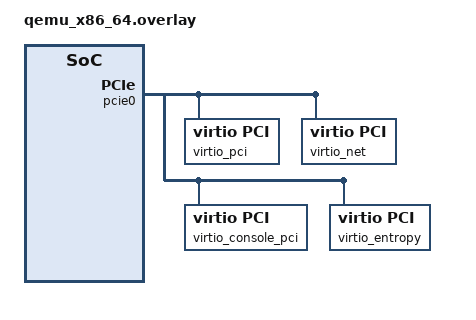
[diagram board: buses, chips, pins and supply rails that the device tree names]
/*
 * Copyright (c) 2024-2025 Antmicro <www.antmicro.com>
 *
 * SPDX-License-Identifier: Apache-2.0
 */

/ {
	chosen {
		zephyr,console = &virtio_console;
		zephyr,entropy = &virtio_entropy;
	};
};

&pcie0 {
	virtio_pci: virtio-pci {
		compatible = "virtio,pci";

		vendor-id = <0x1af4>;
		device-id = <0x105a>;

		interrupts = <0xb 0x0 0x0>;
		interrupt-parent = <&intc>;

		status = "okay";
	};

	virtio_net: virtio-net {
		compatible = "virtio,pci";

		vendor-id = <0x1af4>;
		device-id = <0x1000>;

		interrupts = <0xb 0x0 0x0>;
		interrupt-parent = <&intc>;

		device {
			compatible = "virtio,net";
			status = "okay";
			zephyr,random-mac-address;
		};
	};

	virtio_console_pci: virtio-console-pci {
		compatible = "virtio,pci";

		vendor-id = <0x1af4>;
		device-id = <0x1003>;

		interrupts = <0xb 0x0 0x0>;
		interrupt-parent = <&intc>;

		virtio_console: virtio-console {
			compatible = "virtio,console";
			status = "okay";
		};
	};

	virtio_entropy: virtio-entropy {
		compatible = "virtio,pci";

		vendor-id = <0x1af4>;
		device-id = <0x1005>;

		interrupts = <0xb 0x0 0x0>;
		interrupt-parent = <&intc>;

		status = "okay";

		device {
			compatible = "virtio,device4";
			status = "okay";
		};
	};
};
